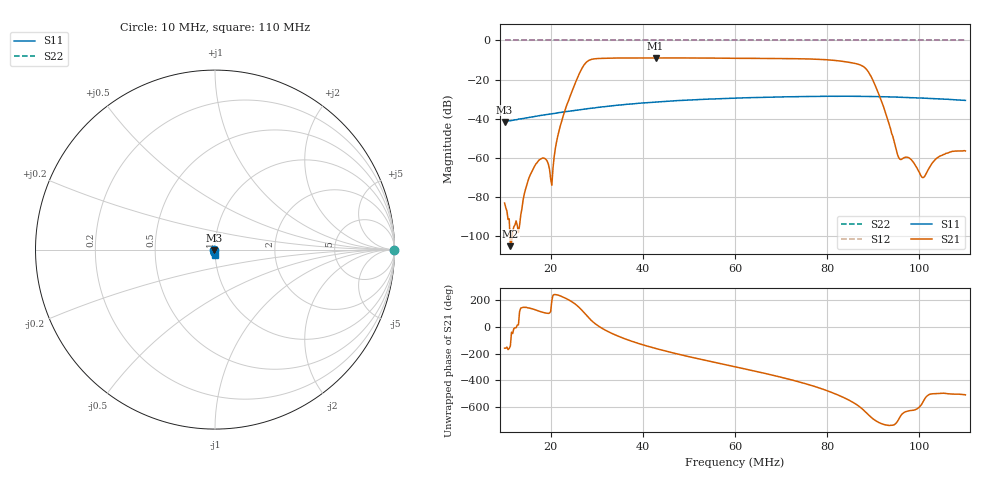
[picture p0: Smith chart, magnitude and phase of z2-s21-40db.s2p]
! Anritsu VNA Master:  Model: MS2034B/10/19/501
! SN:  1337062
! /bd0/ovro-jan-2016/d2-s21-40db.s2p
! Existing Calibration Information:
! TYPE:  Current Settings,  Active Cal Settings
! TIME:  01/08/2016 03:22:05 PM,  01/08/2016 03:05:41 PM
! INTERNAL TEMP:  41.3 C,  43.3 C
! # POINTS:  401,  401
! START FREQ:  10.000 MHz,  10.000 MHz
! STOP FREQ:  110.000 MHz,  110.000 MHz
! SOURCE POWER:  High,  High
! IFBW:  100 Hz,  100 Hz
! AVG FACTOR:  1 ,  1
! REF PLANE 1:  0 mm,  0 mm
! REF PLANE 2:  0 mm,  0 mm
! CAL TYPE:  1P2P S11,S21,  1P2P S11,S21
! CAL METHOD:  SOLT,  SOLT
! CAL LINE TYPE:  Coax,  Coax
! DUT PORT 1:  K-Conn(M),  K-Conn(M)
! DUT PORT 2:  N-Conn(M),  N-Conn(M)
! CAL STATUS:  OK: Accuracy High,  --
# GHZ S DB R 50.0
! FREQ.GHZ  S11DB  S11A  S21DB  S21A  S12DB  S12A  S22DB  S22A
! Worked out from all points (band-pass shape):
!   401 points, 10 MHz to 110 MHz, reference 50 ohm
!   highest |S21| = -8.92 dB at 42.75 MHz (marker M1); lowest = -105.3 dB at 11.25 MHz (marker M2)
!   |S21| within 3 dB of the highest: 27.45 MHz to 86.33 MHz (58.88 MHz wide, 103 % of centre)
!   lowest |S11| = -41.8 dB at 10 MHz (marker M3), VSWR 1.02, Z = 49.2 - j0.296 ohm
!   |S11| at or under -10 dB: start of sweep to end of sweep
!   |S22| runs from 0.0 to 0.0 dB; largest |S21 - S12| = 1.4
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0.01  -41.80 -158.3  -83.25 -159.4  0.00 0.0  0.00 0.0
0.01125  -41.07 -160.8  -105.32 -143.2  0.00 0.0  0.00 0.0
0.014  -39.95 -164.1  -81.85 144.7  0.00 0.0  0.00 0.0
0.01775  -38.39 -166.4  -60.78 113.1  0.00 0.0  0.00 0.0
0.02025  -37.53 -167.1  -74.12 -164.4  0.00 0.0  0.00 0.0
0.0225  -36.71 -166.8  -40.30 -136.1  0.00 0.0  0.00 0.0
0.02675  -35.34 -165.4  -14.46 124.1  0.00 0.0  0.00 0.0
0.0285  -34.76 -164.6  -9.96 57.8  0.00 0.0  0.00 0.0
0.031  -34.08 -162.4  -9.18 -8.7  0.00 0.0  0.00 0.0
0.036  -32.86 -158.4  -8.97 -88.6  0.00 0.0  0.00 0.0
0.04275  -31.51 -151.2  -8.92 -161.5  0.00 0.0  0.00 0.0
0.0435  -31.39 -150.4  -8.93 -168.3  0.00 0.0  0.00 0.0
0.06  -29.57 -131.9  -9.14 61.5  0.00 0.0  0.00 0.0
0.06875  -28.97 -123.1  -9.24 -6.0  0.00 0.0  0.00 0.0
0.07675  -28.68 -115.0  -9.52 -79.5  0.00 0.0  0.00 0.0
0.0835  -28.54 -108.4  -10.74 -166.6  0.00 0.0  0.00 0.0
0.088  -28.62 -103.5  -13.61 95.4  0.00 0.0  0.00 0.0
0.0935  -28.90 -98.4  -43.24 -16.0  0.00 0.0  0.00 0.0
0.09575  -29.08 -96.5  -60.73 44.2  0.00 0.0  0.00 0.0
0.10075  -29.51 -93.1  -70.24 156.4  0.00 0.0  0.00 0.0
0.10425  -29.90 -91.4  -59.54 -137.3  0.00 0.0  0.00 0.0
0.11  -30.68 -89.8  -56.57 -147.8  0.00 0.0  0.00 0.0
